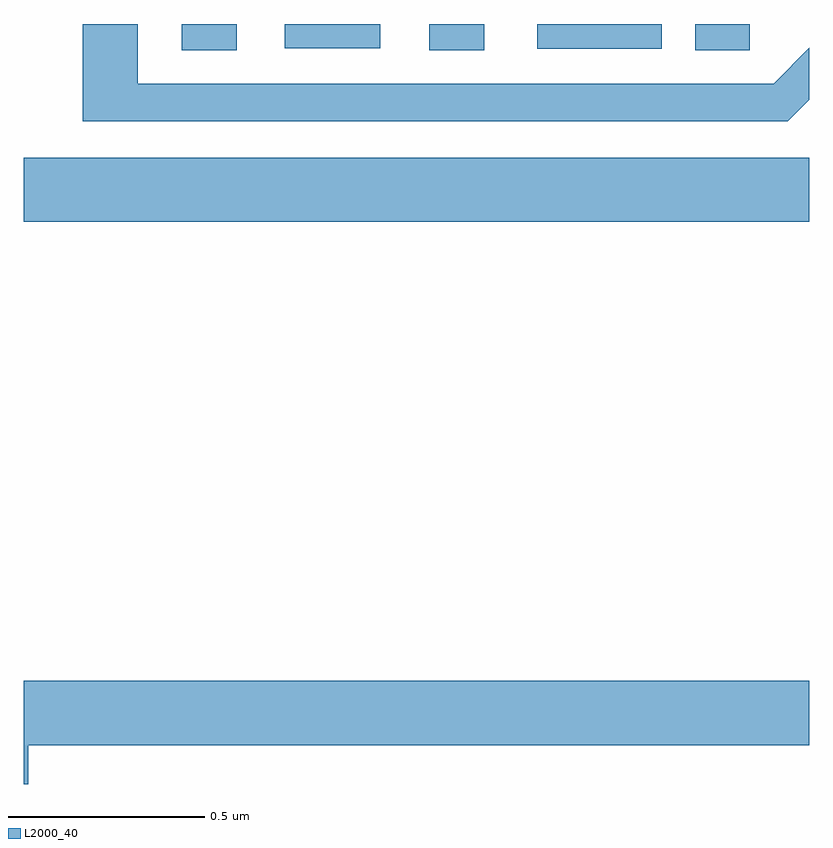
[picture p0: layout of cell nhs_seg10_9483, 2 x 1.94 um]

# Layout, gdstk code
import gdstk
lib = gdstk.Library(unit=1e-6, precision=1e-09)
def R(c, l, rs):  # rectangles x0, y0, x1, y1
    for r in rs: c.add(gdstk.rectangle(r[:2], r[2:], *l))
def P(c, l, *ps):  # polygons
    for p in ps: c.add(gdstk.Polygon(p, *l))
L2000_40 = (2000, 40)

nhs_seg10_9483 = lib.new_cell('nhs_seg10_9483')
R(nhs_seg10_9483, L2000_40, [(230,1286.996,232,1287.16), (230.402,1287.433,230.542,1287.5), (231.032,1287.433,231.172,1287.5), (231.71,1287.433,231.849,1287.5), (231.308,1287.437,231.625,1287.5), (230.664,1287.438,230.908,1287.5)])
P(nhs_seg10_9483, L2000_40, [(232,1287.307),(232,1287.439),(231.909,1287.348),(230.29,1287.348),(230.29,1287.5),(230.15,1287.5),(230.15,1287.252),(231.945,1287.252)],
  [(230.012,1285.664),(232,1285.664),(232,1285.828),(230,1285.828),(230,1285.565),(230.012,1285.565)])

lib.write_gds('nhs_seg10_9483.gds')
